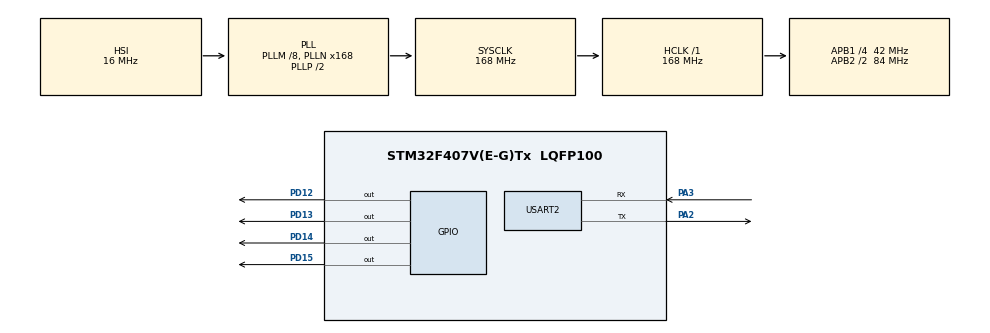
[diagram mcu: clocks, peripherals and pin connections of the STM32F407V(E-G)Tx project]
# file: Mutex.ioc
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FREERTOS.Tasks01=defaultTask,0,128,StartDefaultTask,Default,NULL,Dynamic,NULL,NULL
FREERTOS.configUSE_NEWLIB_REENTRANT=1
Mcu.Family=STM32F4
Mcu.Name=STM32F407V(E-G)Tx
Mcu.Package=LQFP100
NVIC.PriorityGroup=NVIC_PRIORITYGROUP_4
NVIC.TIM1_UP_TIM10_IRQn=true\:15\:0\:false\:false\:true\:false\:false\:true\:true
NVIC.TimeBase=TIM1_UP_TIM10_IRQn
NVIC.TimeBaseIP=TIM1
NVIC.USART2_IRQn=true\:5\:0\:false\:false\:true\:true\:true\:true\:true
PA13.Mode=Serial_Wire
PA13.Signal=SYS_JTMS-SWDIO
PA14.Mode=Serial_Wire
PA14.Signal=SYS_JTCK-SWCLK
PA2.Mode=Asynchronous
PA2.Signal=USART2_TX
PA3.Mode=Asynchronous
PA3.Signal=USART2_RX
PD12.Signal=GPIO_Output
PD13.Signal=GPIO_Output
PD14.Signal=GPIO_Output
PD15.Signal=GPIO_Output
PH0-OSC_IN.Mode=HSE-External-Oscillator
PH0-OSC_IN.Signal=RCC_OSC_IN
PH1-OSC_OUT.Mode=HSE-External-Oscillator
PH1-OSC_OUT.Signal=RCC_OSC_OUT
ProjectManager.HeapSize=0x200
ProjectManager.StackSize=0x400
ProjectManager.TargetToolchain=STM32CubeIDE
RCC.48MHZClocksFreq_Value=84000000
RCC.AHBFreq_Value=168000000
RCC.APB1CLKDivider=RCC_HCLK_DIV4
RCC.APB1Freq_Value=42000000
RCC.APB1TimFreq_Value=84000000
RCC.APB2CLKDivider=RCC_HCLK_DIV2
RCC.APB2Freq_Value=84000000
RCC.APB2TimFreq_Value=168000000
RCC.CortexFreq_Value=168000000
RCC.HCLKFreq_Value=168000000
RCC.HSE_VALUE=25000000
RCC.HSI_VALUE=16000000
RCC.LSE_VALUE=32768
RCC.PLLM=8
RCC.PLLN=168
RCC.SYSCLKFreq_VALUE=168000000
RCC.SYSCLKSource=RCC_SYSCLKSOURCE_PLLCLK
RCC.VCOOutputFreq_Value=336000000
USART2.VirtualMode=VM_ASYNC
VP_FREERTOS_VS_CMSIS_V1.Mode=CMSIS_V1
VP_SYS_VS_tim1.Mode=TIM1
board=custom

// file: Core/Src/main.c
/* USER CODE BEGIN Header */
/**
  ******************************************************************************
  * @file           : main.c
  * @brief          : Main program body
  ******************************************************************************
  * @attention
  *
  * Copyright (c) 2023 STMicroelectronics.
  * All rights reserved.
  *
  * This software is licensed under terms that can be found in the LICENSE file
  * in the root directory of this software component.
  * If no LICENSE file comes with this software, it is provided AS-IS.
  *
  ******************************************************************************
  */
/* USER CODE END Header */
#include "main.h"
//#include "cmsis_os.h"

/* USER CODE BEGIN Includes */
#include "FreeRTOS.h"
#include "task.h"
//#include "timers.h"
#include "queue.h"
#include "semphr.h"

#include "string.h"
#include "stdio.h"
//#include "event_groups.h"
/* USER CODE END Includes */

UART_HandleTypeDef huart2;

void SystemClock_Config(void);
static void MX_GPIO_Init(void);
static void MX_USART2_UART_Init(void);

/* USER CODE BEGIN 0 */
SemaphoreHandle_t SimpleMutex;
SemaphoreHandle_t BinSemaphore;

TaskHandle_t HPT_Handler;
TaskHandle_t MPT_Handler;
TaskHandle_t LPT_Handler;

void HPT_Task (void *argument);
void MPT_Task (void *argument);
void LPT_Task (void *argument);

void Send_Uart (uint8_t *str)
{
	xSemaphoreTake(SimpleMutex, portMAX_DELAY);
	HAL_UART_Transmit(&huart2, (uint8_t *)"mutex acquired....\n", 20, HAL_MAX_DELAY);
	HAL_Delay(5000);
	HAL_UART_Transmit(&huart2, str, strlen (str), HAL_MAX_DELAY);
	xSemaphoreGive(SimpleMutex);
}
/* USER CODE END 0 */

int main(void)
{

  /* MCU Configuration--------------------------------------------------------*/

  /* Reset of all peripherals, Initializes the Flash interface and the Systick. */
  HAL_Init();

  /* Configure the system clock */
  SystemClock_Config();

  /* Initialize all configured peripherals */
  MX_GPIO_Init();
  MX_USART2_UART_Init();
  /* USER CODE BEGIN 2 */
  SimpleMutex = xSemaphoreCreateMutex();

  if (SimpleMutex != NULL)
  {
   HAL_UART_Transmit(&huart2, "Mutex Created\n\n", 15, 1000);
  }

  BinSemaphore = xSemaphoreCreateBinary();

  if (BinSemaphore != NULL)
  {
   HAL_UART_Transmit(&huart2, "BinSemaphore Created\n\n", 22, 1000);
  }

  xSemaphoreGive(BinSemaphore);
  /// create tasks

  xTaskCreate(HPT_Task, "HPT", 128, NULL, 3, &HPT_Handler);
  xTaskCreate(MPT_Task, "MPT", 128, NULL, 2, &MPT_Handler);
  xTaskCreate(LPT_Task, "LPT", 128, NULL, 1, &MPT_Handler);

  vTaskStartScheduler();
  /* USER CODE END 2 */

  /* We should never get here as control is now taken by the scheduler */
  /* Infinite loop */
  while (1)
  {

  }
}

void SystemClock_Config(void)
{
  RCC_OscInitTypeDef RCC_OscInitStruct = {0};
  RCC_ClkInitTypeDef RCC_ClkInitStruct = {0};

  /** Configure the main internal regulator output voltage
  */
  __HAL_RCC_PWR_CLK_ENABLE();
  __HAL_PWR_VOLTAGESCALING_CONFIG(PWR_REGULATOR_VOLTAGE_SCALE1);

  /** Initializes the RCC Oscillators according to the specified parameters
  * in the RCC_OscInitTypeDef structure.
  */
  RCC_OscInitStruct.OscillatorType = RCC_OSCILLATORTYPE_HSI;
  RCC_OscInitStruct.HSIState = RCC_HSI_ON;
  RCC_OscInitStruct.HSICalibrationValue = RCC_HSICALIBRATION_DEFAULT;
  RCC_OscInitStruct.PLL.PLLState = RCC_PLL_ON;
  RCC_OscInitStruct.PLL.PLLSource = RCC_PLLSOURCE_HSI;
  RCC_OscInitStruct.PLL.PLLM = 8;
  RCC_OscInitStruct.PLL.PLLN = 168;
  RCC_OscInitStruct.PLL.PLLP = RCC_PLLP_DIV2;
  RCC_OscInitStruct.PLL.PLLQ = 4;
  if (HAL_RCC_OscConfig(&RCC_OscInitStruct) != HAL_OK)
  {
    Error_Handler();
  }

  /** Initializes the CPU, AHB and APB buses clocks
  */
  RCC_ClkInitStruct.ClockType = RCC_CLOCKTYPE_HCLK|RCC_CLOCKTYPE_SYSCLK
                              |RCC_CLOCKTYPE_PCLK1|RCC_CLOCKTYPE_PCLK2;
  RCC_ClkInitStruct.SYSCLKSource = RCC_SYSCLKSOURCE_PLLCLK;
  RCC_ClkInitStruct.AHBCLKDivider = RCC_SYSCLK_DIV1;
  RCC_ClkInitStruct.APB1CLKDivider = RCC_HCLK_DIV4;
  RCC_ClkInitStruct.APB2CLKDivider = RCC_HCLK_DIV2;

  if (HAL_RCC_ClockConfig(&RCC_ClkInitStruct, FLASH_LATENCY_5) != HAL_OK)
  {
    Error_Handler();
  }
}

static void MX_USART2_UART_Init(void)
{

  huart2.Instance = USART2;
  huart2.Init.BaudRate = 115200;
  huart2.Init.WordLength = UART_WORDLENGTH_8B;
  huart2.Init.StopBits = UART_STOPBITS_1;
  huart2.Init.Parity = UART_PARITY_NONE;
  huart2.Init.Mode = UART_MODE_TX_RX;
  huart2.Init.HwFlowCtl = UART_HWCONTROL_NONE;
  huart2.Init.OverSampling = UART_OVERSAMPLING_16;
  if (HAL_UART_Init(&huart2) != HAL_OK)
  {
    Error_Handler();
  }

}

static void MX_GPIO_Init(void)
{
  GPIO_InitTypeDef GPIO_InitStruct = {0};

  /* GPIO Ports Clock Enable */
  __HAL_RCC_GPIOH_CLK_ENABLE();
  __HAL_RCC_GPIOA_CLK_ENABLE();
  __HAL_RCC_GPIOD_CLK_ENABLE();

  /*Configure GPIO pin Output Level */
  HAL_GPIO_WritePin(GPIOD, GPIO_PIN_12|GPIO_PIN_13|GPIO_PIN_14|GPIO_PIN_15, GPIO_PIN_RESET);

  /*Configure GPIO pins : PD12 PD13 PD14 PD15 */
  GPIO_InitStruct.Pin = GPIO_PIN_12|GPIO_PIN_13|GPIO_PIN_14|GPIO_PIN_15;
  GPIO_InitStruct.Mode = GPIO_MODE_OUTPUT_PP;
  GPIO_InitStruct.Pull = GPIO_NOPULL;
  GPIO_InitStruct.Speed = GPIO_SPEED_FREQ_LOW;
  HAL_GPIO_Init(GPIOD, &GPIO_InitStruct);

}

/* USER CODE BEGIN 4 */
void HPT_Task (void *argument)
{
	uint8_t *strtosend = "IN HPT===========================\n";
	while (1)
	{
		char *str = "Entered HPT and About to take MUTEX\n";
		HAL_UART_Transmit(&huart2, str, strlen (str), HAL_MAX_DELAY);

		Send_Uart(strtosend);

		char *str2 = "Leaving HPT\n\n";
		HAL_UART_Transmit(&huart2, str2, strlen (str2), HAL_MAX_DELAY);

//		vTaskDelay(1500);
		vTaskDelay(750);
	}
}

void MPT_Task (void *argument)
{
	uint8_t *strtosend = "IN MPT===========================\n";
	while (1)
	{
		HAL_UART_Transmit(&huart2, strtosend, strlen (strtosend), HAL_MAX_DELAY);

		vTaskDelay(2000);
	}
}

//void MPT_Task (void *argument)
//{
//	uint8_t *strtosend = "IN MPT===========================\n";
//	while (1)
//	{
//		char *str = "Entered MPT and About to take Semaphore\n";
//		HAL_UART_Transmit(&huart2, str, strlen (str), HAL_MAX_DELAY);
//
//		Send_Uart(strtosend);
//
//		char *str2 = "Leaving MPT\n\n";
//		HAL_UART_Transmit(&huart2, str2, strlen (str2), HAL_MAX_DELAY);
//
//		vTaskDelay(2000);
//	}
//}

void LPT_Task (void *argument)
{
	uint8_t *strtosend = "IN LPT...........................\n";
	while (1)
	{
		char *str = "Entered LPT and About to take MUTEX\n";
		HAL_UART_Transmit(&huart2, str, strlen (str), HAL_MAX_DELAY);

		Send_Uart(strtosend);

		char *str2 = "Leaving LPT\n\n";
		HAL_UART_Transmit(&huart2, str2, strlen (str2), HAL_MAX_DELAY);

		vTaskDelay(1000);
	}
}
/* USER CODE END 4 */

void HAL_TIM_PeriodElapsedCallback(TIM_HandleTypeDef *htim)
{
  if (htim->Instance == TIM1) {
    HAL_IncTick();
  }
}

void Error_Handler(void)
{
  __disable_irq();
  while (1)
  {
  }
}
